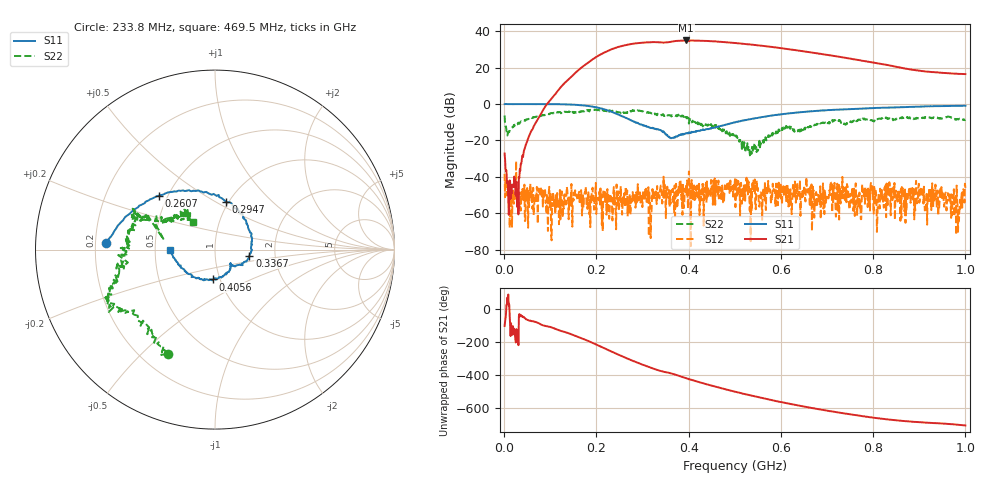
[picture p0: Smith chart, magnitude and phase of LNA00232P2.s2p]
! Created with skrf 1.9.0 (http://scikit-rf.org).
# Hz S RI R 50.0
!freq ReS11 ImS11 ReS21 ImS21 ReS12 ImS12 ReS22 ImS22
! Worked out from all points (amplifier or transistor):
!   1001 points, 1 MHz to 1 GHz, reference 50 ohm
!   highest |S21| = 34.9 dB at 394.6 MHz (marker M1)
!   |S21| within 3 dB of that: 255.9 MHz to 561.1 MHz (305.1 MHz wide, 74.7 % of centre)
!   unconditionally stable (mu >= 1): start of sweep to 97.3 MHz; 237.8 MHz to 345.6 MHz; 345.7 MHz to end of sweep (the widest 3 of 20)
!   at 166.8 MHz: K = 1.01, MAG = 33.1 dB, |S12| = -47.3 dB
!   at 500.5 MHz: K = 1.32, MAG = 34.1 dB, |S12| = -41.3 dB
!   at 1 GHz: K = 2.50, MAG = 24.4 dB, |S12| = -46.0 dB
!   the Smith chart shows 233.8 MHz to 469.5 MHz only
!   S11 on the Smith chart (normalised r, x): 233.8 MHz: 0.24, +0.03; 260.7 MHz: 0.45, +0.33; 294.7 MHz: 0.97, +0.56; 336.7 MHz: 1.47, -0.10; 405.6 MHz: 0.93, -0.32; 469.5 MHz: 0.60, -0.00
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1000000  0.994 0.0143  -0.0101 -0.0423  -0.0102 0.00644  0.325 0.3599
1.08892e8  0.5114 -0.8482  -0.8207 -1.55  0.000746 0.00118  0.4264 -0.3693
1.67833e8  -0.2485 -0.8878  -10.07 -0.4427  -0.000967 -0.00242  0.0328 -0.6323
2.06794e8  -0.6543 -0.408  -15.83 15.56  0.00255 -0.00301  -0.166 -0.6409
2.33767e8  -0.6073 0.0373  -5.421 31.68  -0.00142 -0.000892  -0.2638 -0.5795
2.6074e8  -0.3144 0.3007  16.42 37.35  -0.00343 0.000913  -0.4041 -0.4091
2.94706e8  0.0598 0.2666  42.44 21.89  -0.00177 -0.0033  -0.5955 -0.251
3.13687e8  0.1767 0.1434  49.13 5.616  -9.13e-05 0.000219  -0.5437 -0.1773
3.34666e8  0.2004 -0.0179  48.39 -11.29  -0.00366 0.00146  -0.5121 -0.028
3.36664e8  0.1917 -0.0337  47.94 -12.79  -0.00132 0.00219  -0.5142 -0.0349
3.7063e8  0.0856 -0.0841  41.72 -33.58  0.000552 -0.000626  -0.4387 0.1709
3.94606e8  0.0344 -0.1525  26.95 -48.66  0.00513 0.00312  -0.3742 0.1867
4.05595e8  -0.0115 -0.1663  18.47 -52.25  0.00386 0.00258  -0.3201 0.1591
4.36564e8  -0.1481 -0.1363  -5.724 -53.79  0.00194 0.00298  -0.1878 0.1927
4.69531e8  -0.25 -0.00186  -26.47 -43.58  0.00403 0.00213  -0.1238 0.152
5.005e8  -0.2624 0.1656  -38.28 -28.47  0.00369 -0.0078  -0.1248 0.076
5.4046e8  -0.1747 0.3554  -41.47 -7.273  0.00762 -0.00377  -0.0474 0.0421
5.88412e8  0.031 0.4975  -33.63 12.12  0.00141 -0.000462  -0.1327 -0.0784
6.67333e8  0.4039 0.4849  -11.72 22.87  0.000321 5.66e-05  -0.26 -0.0322
7.46254e8  0.6498 0.2994  2.895 17.61  -0.00266 0.00142  -0.2923 0.0571
8.34166e8  0.7955 0.0274  7.838 8.466  0.00106 -0.00304  -0.3702 0.1355
1e9  0.7298 -0.5209  6.502 1.277  -0.00367 0.00338  -0.1154 0.3484
